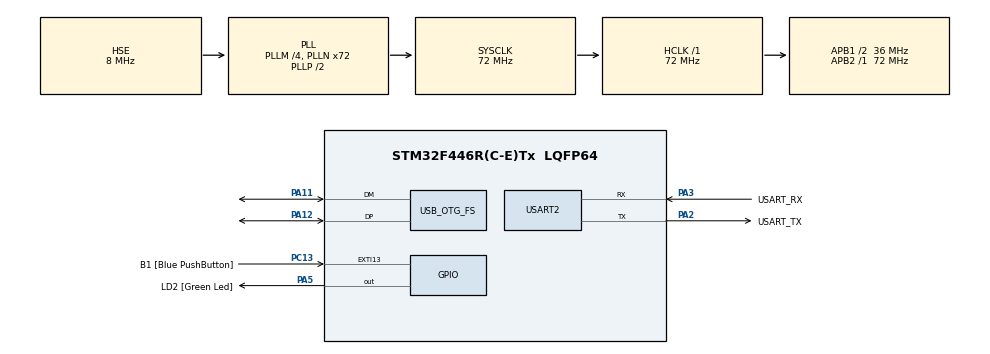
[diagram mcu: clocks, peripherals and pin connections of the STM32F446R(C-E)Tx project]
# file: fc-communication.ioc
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Mcu.Family=STM32F4
Mcu.Name=STM32F446R(C-E)Tx
Mcu.Package=LQFP64
NVIC.OTG_FS_IRQn=true\:0\:0\:false\:false\:true\:false\:true\:true
NVIC.PriorityGroup=NVIC_PRIORITYGROUP_0
PA11.Mode=Device_Only
PA11.Signal=USB_OTG_FS_DM
PA12.Mode=Device_Only
PA12.Signal=USB_OTG_FS_DP
PA13.GPIO_Label=TMS
PA13.Mode=Serial_Wire
PA13.Signal=SYS_JTMS-SWDIO
PA14.GPIO_Label=TCK
PA14.Mode=Serial_Wire
PA14.Signal=SYS_JTCK-SWCLK
PA2.GPIO_Label=USART_TX
PA2.Mode=Asynchronous
PA2.Signal=USART2_TX
PA3.GPIO_Label=USART_RX
PA3.Mode=Asynchronous
PA3.Signal=USART2_RX
PA5.GPIO_Label=LD2 [Green Led]
PA5.Signal=GPIO_Output
PB3.GPIO_Label=SWO
PB3.Signal=SYS_JTDO-SWO
PC13.GPIO_Label=B1 [Blue PushButton]
PC13.GPIO_ModeDefaultEXTI=GPIO_MODE_IT_FALLING
PC13.Signal=GPXTI13
PC14-OSC32_IN.Mode=LSE-External-Oscillator
PC14-OSC32_IN.Signal=RCC_OSC32_IN
PC15-OSC32_OUT.Mode=LSE-External-Oscillator
PC15-OSC32_OUT.Signal=RCC_OSC32_OUT
PH0-OSC_IN.Mode=HSE-External-Oscillator
PH0-OSC_IN.Signal=RCC_OSC_IN
PH1-OSC_OUT.Mode=HSE-External-Oscillator
PH1-OSC_OUT.Signal=RCC_OSC_OUT
ProjectManager.HeapSize=0x100
ProjectManager.StackSize=0x400
ProjectManager.TargetToolchain=STM32CubeIDE
RCC.48MHZClocksFreq_Value=84000000
RCC.AHBFreq_Value=72000000
RCC.APB1CLKDivider=RCC_HCLK_DIV2
RCC.APB1Freq_Value=36000000
RCC.APB1TimFreq_Value=72000000
RCC.APB2Freq_Value=72000000
RCC.APB2TimFreq_Value=72000000
RCC.CortexFreq_Value=72000000
RCC.FLatency-AdvancedSettings=FLASH_LATENCY_2
RCC.HCLKFreq_Value=72000000
RCC.HSE_VALUE=8000000
RCC.HSI_VALUE=16000000
RCC.PLLM=4
RCC.PLLN=72
RCC.PLLQ=3
RCC.SYSCLKFreq_VALUE=72000000
RCC.SYSCLKSource=RCC_SYSCLKSOURCE_PLLCLK
RCC.USBFreq_Value=48000000
RCC.VCOOutputFreq_Value=144000000
USART2.VirtualMode=VM_ASYNC
USB_DEVICE.CLASS_NAME_FS=CDC
USB_DEVICE.VirtualMode-CDC_FS=Cdc
USB_DEVICE.VirtualModeFS=Cdc_FS
USB_OTG_FS.VirtualMode=Device_Only
VP_USB_DEVICE_VS_USB_DEVICE_CDC_FS.Mode=CDC_FS
board=NUCLEO-F446RE

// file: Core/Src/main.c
/* USER CODE BEGIN Header */
/**
  ******************************************************************************
  * @file           : main.c
  * @brief          : Main program body
  ******************************************************************************
  * @attention
  *
  * Copyright (c) 2022 STMicroelectronics.
  * All rights reserved.
  *
  * This software is licensed under terms that can be found in the LICENSE file
  * in the root directory of this software component.
  * If no LICENSE file comes with this software, it is provided AS-IS.
  *
  ******************************************************************************
  */
/* USER CODE END Header */
#include "main.h"
#include "usb_device.h"
#include "usbd_cdc_if.h"
#include "string.h"

/* USER CODE BEGIN Includes */
#include "packets_float.h"
/* USER CODE END Includes */

UART_HandleTypeDef huart2;

void SystemClock_Config(void);
static void MX_GPIO_Init(void);
static void MX_USART2_UART_Init(void);

/* USER CODE BEGIN 0 */

PACKET_STORAGE_s STORAGE;
PACKET_TELEMETRY_s TELEMETRY;
PACKET_FC_CONFIG_s FC_CONFIG;
PACKET_SENS_CALBRATION_s SENS_CALIBRATION;
PACKET_SYS_TESTING_s SYS_TESTING;
MESSAGE_PACKET_s MESSAGE_PACKET;

// This is our send and receive data buffer
//1000 bytes Ow0 this is a global buffer so we dont have to send the same buffer around
float data_buffer[4];
float data_buffer_s[4];
float tester_buffer[9];

int data_received_length = 0;

// DataProcessor is going to be the function that is first contact with new data either send or receive
void DataPacketProcessor(){
    //First we will check to see if we're sending or receiving data
    if(((int)MESSAGE_PACKET.validityState == 1) && ((int)MESSAGE_PACKET.transmissionMode == 1)){
        // If first and second bytes == 1 we are receiving data from GS app.
    	ReceivePacketProcessor();
    } else if (((int)MESSAGE_PACKET.validityState == 1) && ((int)MESSAGE_PACKET.transmissionMode == 0)) {
        // If first byte in buffer is 1 and second is 0; GS app is receiving data from us...
        //(TODO: do we need to always send data unless requested to send???
    	SendPacketProcessor();
    } else{
    	return 1; //error out
    }
}// end of DataProcessor()

void SendPacketProcessor(){
	switch((int)MESSAGE_PACKET.systemSelector){
		case 0: //packet_id_storage = 0,
			switch((int)MESSAGE_PACKET.variableSelector){
				case 0:
					data_buffer_s[0] = STORAGE.time;
					data_received_length = vcp_send(data_buffer_s, sizeof(data_buffer_s));
					break;
				case 1:
					data_buffer_s[0] = STORAGE.event_flags;
					data_received_length = vcp_send(data_buffer_s, sizeof(data_buffer_s));
					break;
				case 2:
					data_buffer_s[0] = STORAGE.system_flags;
					data_received_length = vcp_send(data_buffer_s, sizeof(data_buffer_s));
					break;
				case 3:
					data_buffer_s[0] = STORAGE.temperature;
					data_received_length = vcp_send(data_buffer_s, sizeof(data_buffer_s));
					break;
				case 4:
					data_buffer_s[0] = STORAGE.pressure;
					data_received_length = vcp_send(data_buffer_s, sizeof(data_buffer_s));
					break;
				case 5:
					data_buffer_s[0] = STORAGE.altitude;
					data_received_length = vcp_send(data_buffer_s, sizeof(data_buffer_s));
					break;
				case 6:
					data_buffer_s[0] = STORAGE.speed;
					data_received_length = vcp_send(data_buffer_s, sizeof(data_buffer_s));
					break;
				case 7:
					data_buffer_s[0] = STORAGE.accel_x;
					data_received_length = vcp_send(data_buffer_s, sizeof(data_buffer_s));
					break;
				case 8:
					data_buffer_s[0] = STORAGE.accel_y;
					data_received_length = vcp_send(data_buffer_s, sizeof(data_buffer_s));
					break;
				case 9:
					data_buffer_s[0] = STORAGE.accel_z;
					data_received_length = vcp_send(data_buffer_s, sizeof(data_buffer_s));
					break;
				case 10:
					data_buffer_s[0] = STORAGE.gyro_x;
					data_received_length = vcp_send(data_buffer_s, sizeof(data_buffer_s));
					break;
				case 11:
					data_buffer_s[0] = STORAGE.gyro_y;
					data_received_length = vcp_send(data_buffer_s, sizeof(data_buffer_s));
					break;
				case 12:
					data_buffer_s[0] = STORAGE.gyro_z;
					data_received_length = vcp_send(data_buffer_s, sizeof(data_buffer_s));
					break;
				case 13:
					data_buffer_s[0] = STORAGE.mag_x;
					data_received_length = vcp_send(data_buffer_s, sizeof(data_buffer_s));
					break;
				case 14:
					data_buffer_s[0] = STORAGE.mag_y;
					data_received_length = vcp_send(data_buffer_s, sizeof(data_buffer_s));
					break;
				case 15:
					data_buffer_s[0] = STORAGE.mag_z;
					data_received_length = vcp_send(data_buffer_s, sizeof(data_buffer_s));
					break;
				case 16:
					data_buffer_s[0] = STORAGE.latitude;
					data_received_length = vcp_send(data_buffer_s, sizeof(data_buffer_s));
					break;
				case 17:
					data_buffer_s[0] = STORAGE.longitude;
					data_received_length = vcp_send(data_buffer_s, sizeof(data_buffer_s));
					break;
				case 18:
					data_buffer_s[0] = STORAGE.gps_altitude;
					data_received_length = vcp_send(data_buffer_s, sizeof(data_buffer_s));
					break;
				case 19:
					data_buffer_s[0] = STORAGE.satellites;
					data_received_length = vcp_send(data_buffer_s, sizeof(data_buffer_s));
					break;
				default:
					break;
			}
		case 1:
			switch((int)MESSAGE_PACKET.variableSelector){
				case 0:
					data_buffer_s[0] = TELEMETRY.time;
					data_received_length = vcp_send(data_buffer_s, sizeof(data_buffer_s));
					break;
				case 1:
					data_buffer_s[0] = TELEMETRY.event_flags;
					data_received_length = vcp_send(data_buffer_s, sizeof(data_buffer_s));
					break;
				case 2:
					data_buffer_s[0] = TELEMETRY.system_flags;
					data_received_length = vcp_send(data_buffer_s, sizeof(data_buffer_s));
					break;
				case 3:
					data_buffer_s[0] = TELEMETRY.system_voltage;
					data_received_length = vcp_send(data_buffer_s, sizeof(data_buffer_s));
					break;
				case 4:
					data_buffer_s[0] = TELEMETRY.pressure;
					data_received_length = vcp_send(data_buffer_s, sizeof(data_buffer_s));
					break;
				case 5:
					data_buffer_s[0] = TELEMETRY.altitude;
					data_received_length = vcp_send(data_buffer_s, sizeof(data_buffer_s));
					break;
				case 6:
					data_buffer_s[0] = TELEMETRY.speed;
					data_received_length = vcp_send(data_buffer_s, sizeof(data_buffer_s));
					break;
				case 7:
					data_buffer_s[0] = TELEMETRY.latitude;
					data_received_length = vcp_send(data_buffer_s, sizeof(data_buffer_s));
					break;
				case 8:
					data_buffer_s[0] = TELEMETRY.longitude;
					data_received_length = vcp_send(data_buffer_s, sizeof(data_buffer_s));
					break;
				case 9:
					data_buffer_s[0] = TELEMETRY.gps_altitude;
					data_received_length = vcp_send(data_buffer_s, sizeof(data_buffer_s));
					break;
				case 10:
					data_buffer_s[0] = TELEMETRY.satellites;
					data_received_length = vcp_send(data_buffer_s, sizeof(data_buffer_s));
					break;
				default:
					break;
			}
		case 2:
			switch((int)MESSAGE_PACKET.variableSelector){
				case 0:
					data_buffer_s[0] = FC_CONFIG.recovery_drogue_delay;
					data_received_length = vcp_send(data_buffer_s, sizeof(data_buffer_s));
					break;
				case 1:
					data_buffer_s[0] = FC_CONFIG.recovery_main_deploy_alt;
					data_received_length = vcp_send(data_buffer_s, sizeof(data_buffer_s));
					break;
				case 2:
					data_buffer_s[0] = FC_CONFIG.recovery_pyro_igintion_time;
					data_received_length = vcp_send(data_buffer_s, sizeof(data_buffer_s));
					break;
				case 3:
					data_buffer_s[0] = FC_CONFIG.aux_pyro_c_enable;
					data_received_length = vcp_send(data_buffer_s, sizeof(data_buffer_s));
					break;
				case 4:
					data_buffer_s[0] = FC_CONFIG.aux_pyro_c_trigger;
					data_received_length = vcp_send(data_buffer_s, sizeof(data_buffer_s));
					break;
				case 5:
					data_buffer_s[0] = FC_CONFIG.aux_pyro_c_delay;
					data_received_length = vcp_send(data_buffer_s, sizeof(data_buffer_s));
					break;
				case 6:
					data_buffer_s[0] = FC_CONFIG.aux_pyro_d_enable;
					data_received_length = vcp_send(data_buffer_s, sizeof(data_buffer_s));
					break;
				case 7:
					data_buffer_s[0] = FC_CONFIG.aux_pyro_d_trigger;
					data_received_length = vcp_send(data_buffer_s, sizeof(data_buffer_s));
					break;
				case 8:
					data_buffer_s[0] = FC_CONFIG.aux_pyro_d_delay;
					data_received_length = vcp_send(data_buffer_s, sizeof(data_buffer_s));
					break;
				case 9:
					data_buffer_s[0] = FC_CONFIG.aux_pyro_e_enable;
					data_received_length = vcp_send(data_buffer_s, sizeof(data_buffer_s));
					break;
				case 10:
					data_buffer_s[0] = FC_CONFIG.aux_pyro_e_trigger;
					data_received_length = vcp_send(data_buffer_s, sizeof(data_buffer_s));
					break;
				case 11:
					data_buffer_s[0] = FC_CONFIG.aux_pyro_e_delay;
					data_received_length = vcp_send(data_buffer_s, sizeof(data_buffer_s));
					break;
				case 12:
					data_buffer_s[0] = FC_CONFIG.aux_pyro_f_enable;
					data_received_length = vcp_send(data_buffer_s, sizeof(data_buffer_s));
					break;
				case 13:
					data_buffer_s[0] = FC_CONFIG.aux_pyro_f_trigger;
					data_received_length = vcp_send(data_buffer_s, sizeof(data_buffer_s));
					break;
				case 14:
					data_buffer_s[0] = FC_CONFIG.aux_pyro_f_delay;
					data_received_length = vcp_send(data_buffer_s, sizeof(data_buffer_s));
					break;
				case 15:
					data_buffer_s[0] = FC_CONFIG.telemetry_transmit_power;
					data_received_length = vcp_send(data_buffer_s, sizeof(data_buffer_s));
					break;
				case 16:
					data_buffer_s[0] = FC_CONFIG.telemetry_baud_rate;
					data_received_length = vcp_send(data_buffer_s, sizeof(data_buffer_s));
					break;
				case 17:
					data_buffer_s[0] = FC_CONFIG.telemetry_channel;
					data_received_length = vcp_send(data_buffer_s, sizeof(data_buffer_s));
					break;
				case 18:
					data_buffer_s[0] = FC_CONFIG.telemetry_transmit_rate;
					data_received_length = vcp_send(data_buffer_s, sizeof(data_buffer_s));
					break;
				case 19:
					data_buffer_s[0] = FC_CONFIG.telemtery_landed_rate;
					data_received_length = vcp_send(data_buffer_s, sizeof(data_buffer_s));
					break;
				case 20:
					data_buffer_s[0] = FC_CONFIG.telemetry_callsign;
					data_received_length = vcp_send(data_buffer_s, sizeof(data_buffer_s));
					break;
				case 21:
					data_buffer_s[0] = FC_CONFIG.aux_sys_enable_pwm;
					data_received_length = vcp_send(data_buffer_s, sizeof(data_buffer_s));
					break;
				case 22:
					data_buffer_s[0] = FC_CONFIG.aux_sys_enable_buzzer;
					data_received_length = vcp_send(data_buffer_s, sizeof(data_buffer_s));
					break;
				case 23:
					data_buffer_s[0] = FC_CONFIG.aux_sys_buzzer_freq;
					data_received_length = vcp_send(data_buffer_s, sizeof(data_buffer_s));
					break;
				case 24:
					data_buffer_s[0] = FC_CONFIG.aux_sys_buzzer_pattern;
					data_received_length = vcp_send(data_buffer_s, sizeof(data_buffer_s));
					break;
				default:
					break;
			}
		case 3:
			switch((int)MESSAGE_PACKET.variableSelector){
				case 0:
					data_buffer_s[0] = SENS_CALIBRATION.cal_requesting;
					data_received_length = vcp_send(data_buffer_s, sizeof(data_buffer_s));
					break;
				case 1:
					data_buffer_s[0] = SENS_CALIBRATION.cal_accel_select;
					data_received_length = vcp_send(data_buffer_s, sizeof(data_buffer_s));
					break;
				case 2:
					data_buffer_s[0] = SENS_CALIBRATION.cal_accel_status;
					data_received_length = vcp_send(data_buffer_s, sizeof(data_buffer_s));
					break;
				case 3:
					data_buffer_s[0] = SENS_CALIBRATION.cal_mag_select;
					data_received_length = vcp_send(data_buffer_s, sizeof(data_buffer_s));
					break;
				case 4:
					data_buffer_s[0] = SENS_CALIBRATION.cal_mag_status;
					data_received_length = vcp_send(data_buffer_s, sizeof(data_buffer_s));
					break;
				default:
					break;
			}
		case 4:
			switch((int)MESSAGE_PACKET.variableSelector){
				case 0:
					data_buffer_s[0] = SYS_TESTING.test_requesting;
					data_received_length = vcp_send(data_buffer_s, sizeof(data_buffer_s));
					break;
				case 1:
					data_buffer_s[0] = SYS_TESTING.test_pyro_A;
					data_received_length = vcp_send(data_buffer_s, sizeof(data_buffer_s));
					break;
				case 2:
					data_buffer_s[0] = SYS_TESTING.test_pyro_A_status;
					data_received_length = vcp_send(data_buffer_s, sizeof(data_buffer_s));
					break;
				case 3:
					data_buffer_s[0] = SYS_TESTING.test_pyro_B;
					data_received_length = vcp_send(data_buffer_s, sizeof(data_buffer_s));
					break;
				case 4:
					data_buffer_s[0] = SYS_TESTING.test_pyro_B_status;
					data_received_length = vcp_send(data_buffer_s, sizeof(data_buffer_s));
					break;
				case 5:
					data_buffer_s[0] = SYS_TESTING.test_pyro_C;
					data_received_length = vcp_send(data_buffer_s, sizeof(data_buffer_s));
					break;
				case 6:
					data_buffer_s[0] = SYS_TESTING.test_pyro_C_status;
					data_received_length = vcp_send(data_buffer_s, sizeof(data_buffer_s));
					break;
				case 7:
					data_buffer_s[0] = SYS_TESTING.test_pyro_D;
					data_received_length = vcp_send(data_buffer_s, sizeof(data_buffer_s));
					break;
				case 8:
					data_buffer_s[0] = SYS_TESTING.test_pyro_D_status;
					data_received_length = vcp_send(data_buffer_s, sizeof(data_buffer_s));
					break;
				case 9:
					data_buffer_s[0] = SYS_TESTING.test_pyro_E;
					data_received_length = vcp_send(data_buffer_s, sizeof(data_buffer_s));
					break;
				case 10:
					data_buffer_s[0] = SYS_TESTING.test_pyro_E_status;
					data_received_length = vcp_send(data_buffer_s, sizeof(data_buffer_s));
					break;
				case 11:
					data_buffer_s[0] = SYS_TESTING.test_pyro_F;
					data_received_length = vcp_send(data_buffer_s, sizeof(data_buffer_s));
					break;
				case 12:
					data_buffer_s[0] = SYS_TESTING.test_pyro_F_status;
					data_received_length = vcp_send(data_buffer_s, sizeof(data_buffer_s));
					break;
				case 13:
					data_buffer_s[0] = SYS_TESTING.test_telemetry;
					data_received_length = vcp_send(data_buffer_s, sizeof(data_buffer_s));
					break;
				case 14:
					data_buffer_s[0] = SYS_TESTING.test_telemetry_status;
					data_received_length = vcp_send(data_buffer_s, sizeof(data_buffer_s));
					break;
				case 15:
					data_buffer_s[0] = SYS_TESTING.test_gps;
					data_received_length = vcp_send(data_buffer_s, sizeof(data_buffer_s));

					break;
				case 16:
					data_buffer_s[0] = SYS_TESTING.test_gps_status;
					data_received_length = vcp_send(data_buffer_s, sizeof(data_buffer_s));
					break;
				case 17:
					data_buffer_s[0] = SYS_TESTING.test_accelerometer_1;
					data_received_length = vcp_send(data_buffer_s, sizeof(data_buffer_s));
					break;
				case 18:
					data_buffer_s[0] = SYS_TESTING.test_accelerometer_1_status;
					data_received_length = vcp_send(data_buffer_s, sizeof(data_buffer_s));
					break;
				case 19:
					data_buffer_s[0] = SYS_TESTING.test_accelerometer_2;
					data_received_length = vcp_send(data_buffer_s, sizeof(data_buffer_s));
					break;
				case 20:
					data_buffer_s[0] = SYS_TESTING.test_accelerometer_2_status;
					data_received_length = vcp_send(data_buffer_s, sizeof(data_buffer_s));
					break;
				default:
					break;
			}
		default:
			break;
	}

}// end of SendProcessor()

void ReceivePacketProcessor(){
	  	// Now that we've been called and know we're getting data from GS app, we will next need to find out
	    // what type of data/ struct we need to update with the new values, we determine this with two things
		// [2] system picker, [3] variable picker, and finally [4] the data we set...
		// we will have two switch statements in each and determine with two enums.
		// the enums will be in packets_floats.h, variable picker and system pickers

	    // We're going to use an easy switch statement to set the structs to the send data

		switch((int)MESSAGE_PACKET.systemSelector){
			case 0: //packet_id_storage = 0,
				switch((int)MESSAGE_PACKET.variableSelector){
					case 0:
						STORAGE.time = MESSAGE_PACKET.data; // Milliseconds (note: Overflow in ~50 days)
						break;
					case 1:
						STORAGE.event_flags = MESSAGE_PACKET.data; // launch, coast_1, sustainer_iginition, coast_2, apogee, drogue_deploy, main_deploy, land
						break;
					case 2:
						STORAGE.system_flags = MESSAGE_PACKET.data;
						break;
					case 3:
						STORAGE.temperature = MESSAGE_PACKET.data; // Celsius (specially formatted)
						break;
					case 4:
						STORAGE.pressure = MESSAGE_PACKET.data; // Pascal
						break;
					case 5:
						STORAGE.altitude = MESSAGE_PACKET.data; // Meters
						break;
					case 6:
						STORAGE.speed = MESSAGE_PACKET.data; // meters per second
						break;
					case 7:
						STORAGE.accel_x = MESSAGE_PACKET.data; // Acceleration in direction of flight (m/s^2) (will swap accelerometers when sensor is saturated)
						break;
					case 8:
						STORAGE.accel_y = MESSAGE_PACKET.data;
						break;
					case 9:
						STORAGE.accel_z = MESSAGE_PACKET.data;
						break;
					case 10:
						STORAGE.gyro_x = MESSAGE_PACKET.data; // degrees per second
						break;
					case 11:
						STORAGE.gyro_y = MESSAGE_PACKET.data;
						break;
					case 12:
						STORAGE.gyro_z = MESSAGE_PACKET.data;
						break;
					case 13:
						STORAGE.mag_x = MESSAGE_PACKET.data; // Gauss
						break;
					case 14:
						STORAGE.mag_y = MESSAGE_PACKET.data;
						break;
					case 15:
						STORAGE.mag_z = MESSAGE_PACKET.data;
						break;
					case 16:
						STORAGE.latitude = MESSAGE_PACKET.data; // latitude in degrees
						break;
					case 17:
						STORAGE.longitude = MESSAGE_PACKET.data; // longitude in degrees
						break;
					case 18:
						STORAGE.gps_altitude = MESSAGE_PACKET.data; // meters (from GPS)
						break;
					case 19:
						STORAGE.satellites = MESSAGE_PACKET.data; // number of satellites for GPS lock
						break;
					default:
						break;
				}
			case 1:
				switch((int)MESSAGE_PACKET.variableSelector){
					case 0:
						TELEMETRY.time = MESSAGE_PACKET.data; // Milliseconds (note: Overflow in ~50 days)
						break;
					case 1:
						TELEMETRY.event_flags = MESSAGE_PACKET.data; // launch, coast_1, sustainer_iginition, coast_2, apogee, drogue_deploy, main_deploy, land
						break;
					case 2:
						TELEMETRY.system_flags = MESSAGE_PACKET.data;
						break;
					case 3:
						TELEMETRY.system_voltage = MESSAGE_PACKET.data; // Celsius (specially formatted)
						break;
					case 4:
						TELEMETRY.pressure = MESSAGE_PACKET.data; // Pascal
						break;
					case 5:
						TELEMETRY.altitude = MESSAGE_PACKET.data; // Meters
						break;
					case 6:
						TELEMETRY.speed = MESSAGE_PACKET.data; // meters per second
						break;
					case 7:
						TELEMETRY.latitude = MESSAGE_PACKET.data; // latitude in degrees
						break;
					case 8:
						TELEMETRY.longitude = MESSAGE_PACKET.data; // longitude in degrees
						break;
					case 9:
						TELEMETRY.gps_altitude = MESSAGE_PACKET.data; // meters (from GPS)
						break;
					case 10:
						TELEMETRY.satellites = MESSAGE_PACKET.data; // number of satellites for GPS lock
						break;
					default:
						break;
				}
			case 2:
				switch((int)MESSAGE_PACKET.variableSelector){
					case 0:
						FC_CONFIG.recovery_drogue_delay = MESSAGE_PACKET.data; // Milliseconds (note: Overflow in ~50 days)
						break;
					case 1:
						FC_CONFIG.recovery_main_deploy_alt = MESSAGE_PACKET.data; // launch, coast_1, sustainer_iginition, coast_2, apogee, drogue_deploy, main_deploy, land
						break;
					case 2:
						FC_CONFIG.recovery_pyro_igintion_time = MESSAGE_PACKET.data;
						break;
					case 3:
						FC_CONFIG.aux_pyro_c_enable = MESSAGE_PACKET.data; // Celsius (specially formatted)
						break;
					case 4:
						FC_CONFIG.aux_pyro_c_trigger = MESSAGE_PACKET.data; // Pascal
						break;
					case 5:
						FC_CONFIG.aux_pyro_c_delay = MESSAGE_PACKET.data; // Meters
						break;
					case 6:
						FC_CONFIG.aux_pyro_d_enable = MESSAGE_PACKET.data; // meters per second
						break;
					case 7:
						FC_CONFIG.aux_pyro_d_trigger = MESSAGE_PACKET.data; // Acceleration in direction of flight (m/s^2) (will swap accelerometers when sensor is saturated)
						break;
					case 8:
						FC_CONFIG.aux_pyro_d_delay = MESSAGE_PACKET.data;
						break;
					case 9:
						FC_CONFIG.aux_pyro_e_enable = MESSAGE_PACKET.data;
						break;
					case 10:
						FC_CONFIG.aux_pyro_e_trigger = MESSAGE_PACKET.data; // degrees per second
						break;
					case 11:
						FC_CONFIG.aux_pyro_e_delay = MESSAGE_PACKET.data;
						break;
					case 12:
						FC_CONFIG.aux_pyro_f_enable = MESSAGE_PACKET.data;
						break;
					case 13:
						FC_CONFIG.aux_pyro_f_trigger = MESSAGE_PACKET.data; // Gauss
						break;
					case 14:
						FC_CONFIG.aux_pyro_f_delay = MESSAGE_PACKET.data;
						break;
					case 15:
						FC_CONFIG.telemetry_transmit_power = MESSAGE_PACKET.data;
						break;
					case 16:
						FC_CONFIG.telemetry_baud_rate = MESSAGE_PACKET.data; // latitude in degrees
						break;
					case 17:
						FC_CONFIG.telemetry_channel = MESSAGE_PACKET.data; // longitude in degrees
						break;
					case 18:
						FC_CONFIG.telemetry_transmit_rate = MESSAGE_PACKET.data; // meters (from GPS)
						break;
					case 19:
						FC_CONFIG.telemtery_landed_rate = MESSAGE_PACKET.data; // number of satellites for GPS lock
						break;
					case 20:
						FC_CONFIG.telemetry_callsign = MESSAGE_PACKET.data;
						break;
					case 21:
						FC_CONFIG.aux_sys_enable_pwm = MESSAGE_PACKET.data; // latitude in degrees
						break;
					case 22:
						FC_CONFIG.aux_sys_enable_buzzer = MESSAGE_PACKET.data; // longitude in degrees
						break;
					case 23:
						FC_CONFIG.aux_sys_buzzer_freq = MESSAGE_PACKET.data; // meters (from GPS)
						break;
					case 24:
						FC_CONFIG.aux_sys_buzzer_pattern = MESSAGE_PACKET.data; // number of satellites for GPS lock
						break;
					default:
						break;
				}
			case 3:
				switch((int)data_buffer[2]){
					case 0:
						SENS_CALIBRATION.cal_requesting = MESSAGE_PACKET.data; // Milliseconds (note: Overflow in ~50 days)
						break;
					case 1:
						SENS_CALIBRATION.cal_accel_select = MESSAGE_PACKET.data; // launch, coast_1, sustainer_iginition, coast_2, apogee, drogue_deploy, main_deploy, land
						break;
					case 2:
						SENS_CALIBRATION.cal_accel_status = MESSAGE_PACKET.data;
						break;
					case 3:
						SENS_CALIBRATION.cal_mag_select = MESSAGE_PACKET.data; // Celsius (specially formatted)
						break;
					case 4:
						SENS_CALIBRATION.cal_mag_status = MESSAGE_PACKET.data; // Pascal
						break;
					default:
						break;
				}
			case 4:
				switch((int)MESSAGE_PACKET.variableSelector){
					case 0:
						SYS_TESTING.test_requesting = MESSAGE_PACKET.data; // Milliseconds (note: Overflow in ~50 days)
						break;
					case 1:
						SYS_TESTING.test_pyro_A = MESSAGE_PACKET.data; // launch, coast_1, sustainer_iginition, coast_2, apogee, drogue_deploy, main_deploy, land
						break;
					case 2:
						SYS_TESTING.test_pyro_A_status = MESSAGE_PACKET.data;
						break;
					case 3:
						SYS_TESTING.test_pyro_B = MESSAGE_PACKET.data; // Celsius (specially formatted)
						break;
					case 4:
						SYS_TESTING.test_pyro_B_status = MESSAGE_PACKET.data; // Pascal
						break;
					case 5:
						SYS_TESTING.test_pyro_C = MESSAGE_PACKET.data; // Meters
						break;
					case 6:
						SYS_TESTING.test_pyro_C_status = MESSAGE_PACKET.data; // meters per second
						break;
					case 7:
						SYS_TESTING.test_pyro_D = MESSAGE_PACKET.data; // latitude in degrees
						break;
					case 8:
						SYS_TESTING.test_pyro_D_status = MESSAGE_PACKET.data; // longitude in degrees
						break;
					case 9:
						SYS_TESTING.test_pyro_E = MESSAGE_PACKET.data; // meters (from GPS)
						break;
					case 10:
						SYS_TESTING.test_pyro_E_status = MESSAGE_PACKET.data; // number of satellites for GPS lock
						break;
					case 11:
						SYS_TESTING.test_pyro_F = MESSAGE_PACKET.data; // Milliseconds (note: Overflow in ~50 days)
						break;
					case 12:
						SYS_TESTING.test_pyro_F_status = MESSAGE_PACKET.data; // launch, coast_1, sustainer_iginition, coast_2, apogee, drogue_deploy, main_deploy, land
						break;
					case 13:
						SYS_TESTING.test_telemetry = MESSAGE_PACKET.data;
						break;
					case 14:
						SYS_TESTING.test_telemetry_status = MESSAGE_PACKET.data; // Celsius (specially formatted)
						break;
					case 15:
						SYS_TESTING.test_gps = MESSAGE_PACKET.data; // Pascal
						break;
					case 16:
						SYS_TESTING.test_gps_status = MESSAGE_PACKET.data; // Meters
						break;
					case 17:
						SYS_TESTING.test_accelerometer_1 = MESSAGE_PACKET.data; // meters per second
						break;
					case 18:
						SYS_TESTING.test_accelerometer_1_status = MESSAGE_PACKET.data; // latitude in degrees
						break;
					case 19:
						SYS_TESTING.test_accelerometer_2 = MESSAGE_PACKET.data; // longitude in degrees
						break;
					case 20:
						SYS_TESTING.test_accelerometer_2_status = MESSAGE_PACKET.data; // meters (from GPS)
						break;
					default:
						break;
				}
			default:
				break;
		}
}// end of ReceiveProcessor()

/* USER CODE END 0 */

int main(void)
{

  /* MCU Configuration--------------------------------------------------------*/

  /* Reset of all peripherals, Initializes the Flash interface and the Systick. */
  HAL_Init();

  /* Configure the system clock */
  SystemClock_Config();

  /* Initialize all configured peripherals */
	  MX_GPIO_Init();
	  MX_USART2_UART_Init();
	  MX_USB_DEVICE_Init();

  /* Infinite loop */
  while (1)
  {

    /* USER CODE BEGIN 3 */
      // poll to see if we've gotten data
	  data_received_length = vcp_recv(data_buffer, 5);
      if(data_received_length  > 0){

    	  MESSAGE_PACKET.validityState = data_buffer[0];
    	  MESSAGE_PACKET.transmissionMode = data_buffer[1];
    	  MESSAGE_PACKET.systemSelector = data_buffer[2];
    	  MESSAGE_PACKET.variableSelector = data_buffer[3];
    	  MESSAGE_PACKET.data = data_buffer[4];

    	  data_buffer_s[0] = MESSAGE_PACKET.data;
    	  data_buffer_s[1] = MESSAGE_PACKET.variableSelector;
		  data_buffer_s[2] = MESSAGE_PACKET.systemSelector ;
	      data_buffer_s[3] = MESSAGE_PACKET.transmissionMode;
		  data_buffer_s[4] = MESSAGE_PACKET.validityState;

    	  data_received_length = vcp_send(data_buffer_s, 5);

    	  //DataPacketProcessor();
      }
  /* USER CODE END 3 */
  }
}

void SystemClock_Config(void)
{
  RCC_OscInitTypeDef RCC_OscInitStruct = {0};
  RCC_ClkInitTypeDef RCC_ClkInitStruct = {0};

  /** Configure the main internal regulator output voltage
  */
  __HAL_RCC_PWR_CLK_ENABLE();
  __HAL_PWR_VOLTAGESCALING_CONFIG(PWR_REGULATOR_VOLTAGE_SCALE3);
  /** Initializes the RCC Oscillators according to the specified parameters
  * in the RCC_OscInitTypeDef structure.
  */
  RCC_OscInitStruct.OscillatorType = RCC_OSCILLATORTYPE_HSE;
  RCC_OscInitStruct.HSEState = RCC_HSE_ON;
  RCC_OscInitStruct.PLL.PLLState = RCC_PLL_ON;
  RCC_OscInitStruct.PLL.PLLSource = RCC_PLLSOURCE_HSE;
  RCC_OscInitStruct.PLL.PLLM = 4;
  RCC_OscInitStruct.PLL.PLLN = 72;
  RCC_OscInitStruct.PLL.PLLP = RCC_PLLP_DIV2;
  RCC_OscInitStruct.PLL.PLLQ = 3;
  RCC_OscInitStruct.PLL.PLLR = 2;
  if (HAL_RCC_OscConfig(&RCC_OscInitStruct) != HAL_OK)
  {
    Error_Handler();
  }
  /** Initializes the CPU, AHB and APB buses clocks
  */
  RCC_ClkInitStruct.ClockType = RCC_CLOCKTYPE_HCLK|RCC_CLOCKTYPE_SYSCLK
                              |RCC_CLOCKTYPE_PCLK1|RCC_CLOCKTYPE_PCLK2;
  RCC_ClkInitStruct.SYSCLKSource = RCC_SYSCLKSOURCE_PLLCLK;
  RCC_ClkInitStruct.AHBCLKDivider = RCC_SYSCLK_DIV1;
  RCC_ClkInitStruct.APB1CLKDivider = RCC_HCLK_DIV2;
  RCC_ClkInitStruct.APB2CLKDivider = RCC_HCLK_DIV1;

  if (HAL_RCC_ClockConfig(&RCC_ClkInitStruct, FLASH_LATENCY_2) != HAL_OK)
  {
    Error_Handler();
  }
}

static void MX_USART2_UART_Init(void)
{

  huart2.Instance = USART2;
  huart2.Init.BaudRate = 115200;
  huart2.Init.WordLength = UART_WORDLENGTH_8B;
  huart2.Init.StopBits = UART_STOPBITS_1;
  huart2.Init.Parity = UART_PARITY_NONE;
  huart2.Init.Mode = UART_MODE_TX_RX;
  huart2.Init.HwFlowCtl = UART_HWCONTROL_NONE;
  huart2.Init.OverSampling = UART_OVERSAMPLING_16;
  if (HAL_UART_Init(&huart2) != HAL_OK)
  {
    Error_Handler();
  }

}

static void MX_GPIO_Init(void)
{
  GPIO_InitTypeDef GPIO_InitStruct = {0};

  /* GPIO Ports Clock Enable */
  __HAL_RCC_GPIOC_CLK_ENABLE();
  __HAL_RCC_GPIOH_CLK_ENABLE();
  __HAL_RCC_GPIOA_CLK_ENABLE();
  __HAL_RCC_GPIOB_CLK_ENABLE();

  /*Configure GPIO pin Output Level */
  HAL_GPIO_WritePin(LD2_GPIO_Port, LD2_Pin, GPIO_PIN_RESET);

  /*Configure GPIO pin : B1_Pin */
  GPIO_InitStruct.Pin = B1_Pin;
  GPIO_InitStruct.Mode = GPIO_MODE_IT_FALLING;
  GPIO_InitStruct.Pull = GPIO_NOPULL;
  HAL_GPIO_Init(B1_GPIO_Port, &GPIO_InitStruct);

  /*Configure GPIO pin : LD2_Pin */
  GPIO_InitStruct.Pin = LD2_Pin;
  GPIO_InitStruct.Mode = GPIO_MODE_OUTPUT_PP;
  GPIO_InitStruct.Pull = GPIO_NOPULL;
  GPIO_InitStruct.Speed = GPIO_SPEED_FREQ_LOW;
  HAL_GPIO_Init(LD2_GPIO_Port, &GPIO_InitStruct);

}

void Error_Handler(void)
{
  __disable_irq();
  while (1)
  {
  }
}
